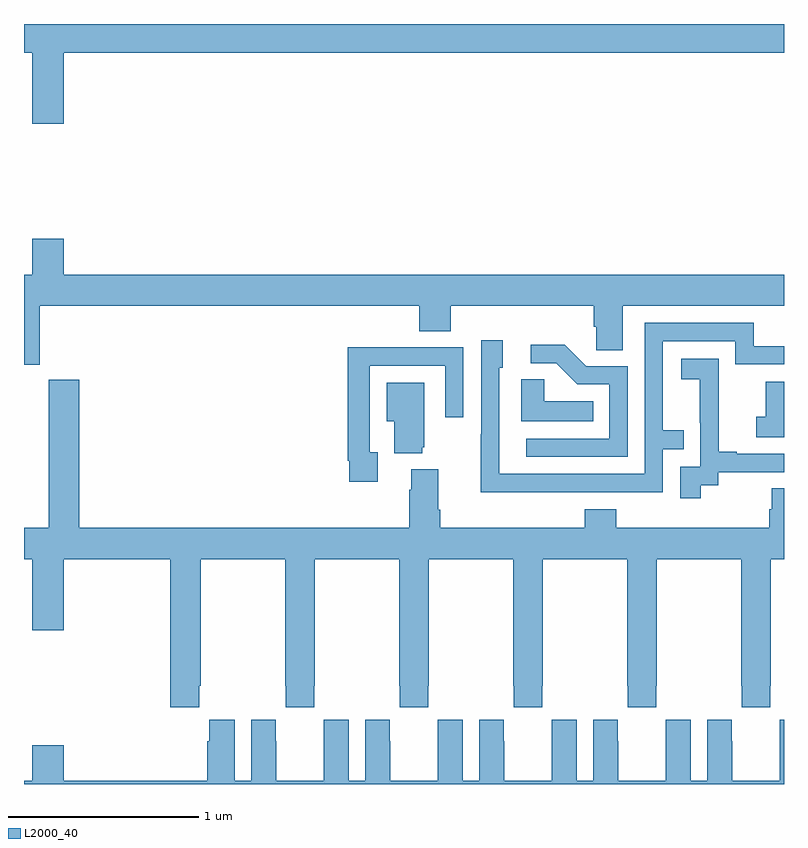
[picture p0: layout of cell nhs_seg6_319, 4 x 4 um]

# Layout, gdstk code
import gdstk
lib = gdstk.Library(unit=1e-6, precision=1e-09)
def P(c, l, *ps):  # polygons
    for p in ps: c.add(gdstk.Polygon(p, *l))
L2000_40 = (2000, 40)

nhs_seg6_319 = lib.new_cell('nhs_seg6_319')
P(nhs_seg6_319, L2000_40, [(133,935.5),(129,935.5),(129,935.348),(129.044,935.348),(129.044,934.974),(129.208,934.974),(129.208,935.348),(133,935.348)],
  [(129.082,934.016),(131.081,934.016),(131.081,933.883),(131.246,933.883),(131.246,934.016),(131.999,934.016),(131.999,933.907),(132.012,933.907),(132.012,933.784),(132.151,933.784),(132.151,934.016),(133,934.016),(133,934.18),(129.208,934.18),(129.208,934.369),(129.044,934.369),(129.044,934.18),(129,934.18),(129,933.707),(129.082,933.707)],
  [(131.867,933.036),(132.363,933.036),(132.363,933.261),(132.473,933.261),(132.473,933.362),(132.363,933.362),(132.363,933.831),(132.744,933.831),(132.744,933.708),(133,933.708),(133,933.804),(132.841,933.804),(132.841,933.927),(132.267,933.927),(132.267,933.132),(131.502,933.132),(131.502,933.69),(131.521,933.69),(131.521,933.835),(131.406,933.835),(131.406,933.341),(131.404,933.341),(131.404,933.035),(131.867,933.035)],
  [(132.177,933.699),(131.958,933.699),(131.845,933.812),(131.667,933.812),(131.667,933.714),(131.801,933.714),(131.912,933.603),(132.081,933.603),(132.081,933.318),(131.643,933.318),(131.643,933.222),(132.177,933.222)],
  [(130.861,933.246),(130.821,933.246),(130.821,933.702),(131.217,933.702),(131.217,933.429),(131.313,933.429),(131.313,933.798),(130.997,933.798),(130.997,933.8),(130.705,933.8),(130.705,933.202),(130.713,933.202),(130.713,933.09),(130.861,933.09)],
  [(132.562,933.073),(132.654,933.073),(132.654,933.141),(133,933.141),(133,933.237),(132.751,933.237),(132.751,933.25),(132.656,933.25),(132.656,933.533),(132.657,933.533),(132.657,933.739),(132.459,933.739),(132.459,933.629),(132.557,933.629),(132.557,933.401),(132.558,933.401),(132.558,933.171),(132.453,933.171),(132.453,933.003),(132.562,933.003)],
  [(131.996,933.514),(131.739,933.514),(131.739,933.629),(131.618,933.629),(131.618,933.41),(131.996,933.41)],
  [(129.923,932.017),(129.93,932.017),(129.93,932.684),(130.375,932.684),(130.375,932.017),(130.377,932.017),(130.377,931.905),(130.527,931.905),(130.527,932.017),(130.53,932.017),(130.53,932.684),(130.975,932.684),(130.975,932.017),(130.977,932.017),(130.977,931.905),(131.127,931.905),(131.127,932.017),(131.13,932.017),(131.13,932.684),(131.575,932.684),(131.575,932.017),(131.577,932.017),(131.577,931.905),(131.727,931.905),(131.727,932.017),(131.73,932.017),(131.73,932.684),(132.175,932.684),(132.175,932.017),(132.177,932.017),(132.177,931.905),(132.327,931.905),(132.327,932.017),(132.33,932.017),(132.33,932.684),(132.775,932.684),(132.775,932.017),(132.777,932.017),(132.777,931.905),(132.927,931.905),(132.927,932.017),(132.93,932.017),(132.93,932.684),(133,932.684),(133,933.056),(132.935,933.056),(132.935,932.946),(132.923,932.946),(132.923,932.848),(132.116,932.848),(132.116,932.947),(131.951,932.947),(131.951,932.848),(131.192,932.848),(131.192,932.944),(131.179,932.944),(131.179,933.157),(131.039,933.157),(131.039,933.05),(131.027,933.05),(131.027,932.848),(129.29,932.848),(129.29,933.628),(129.13,933.628),(129.13,932.848),(129,932.848),(129,932.684),(129.044,932.684),(129.044,932.31),(129.208,932.31),(129.208,932.684),(129.77,932.684),(129.77,931.905),(129.923,931.905)],
  [(133,933.618),(132.904,933.618),(132.904,933.433),(132.855,933.433),(132.855,933.324),(133,933.324)],
  [(131.096,933.273),(131.107,933.273),(131.107,933.613),(130.91,933.613),(130.91,933.41),(130.949,933.41),(130.949,933.242),(131.096,933.242)],
  [(129.044,931.705),(129.044,931.516),(129,931.516),(129,931.5),(133,931.5),(133,931.837),(132.978,931.837),(132.978,931.724),(132.977,931.724),(132.977,931.516),(132.727,931.516),(132.727,931.724),(132.726,931.724),(132.726,931.837),(132.596,931.837),(132.596,931.516),(132.508,931.516),(132.508,931.837),(132.378,931.837),(132.378,931.724),(132.377,931.724),(132.377,931.516),(132.127,931.516),(132.127,931.724),(132.126,931.724),(132.126,931.837),(131.996,931.837),(131.996,931.516),(131.908,931.516),(131.908,931.837),(131.778,931.837),(131.778,931.724),(131.777,931.724),(131.777,931.516),(131.527,931.516),(131.527,931.724),(131.526,931.724),(131.526,931.837),(131.396,931.837),(131.396,931.516),(131.308,931.516),(131.308,931.837),(131.178,931.837),(131.178,931.724),(131.177,931.724),(131.177,931.516),(130.927,931.516),(130.927,931.724),(130.926,931.724),(130.926,931.837),(130.796,931.837),(130.796,931.516),(130.708,931.516),(130.708,931.837),(130.578,931.837),(130.578,931.724),(130.577,931.724),(130.577,931.516),(130.327,931.516),(130.327,931.724),(130.326,931.724),(130.326,931.837),(130.196,931.837),(130.196,931.516),(130.108,931.516),(130.108,931.837),(129.974,931.837),(129.974,931.724),(129.965,931.724),(129.965,931.516),(129.208,931.516),(129.208,931.705)])

lib.write_gds('nhs_seg6_319.gds')
